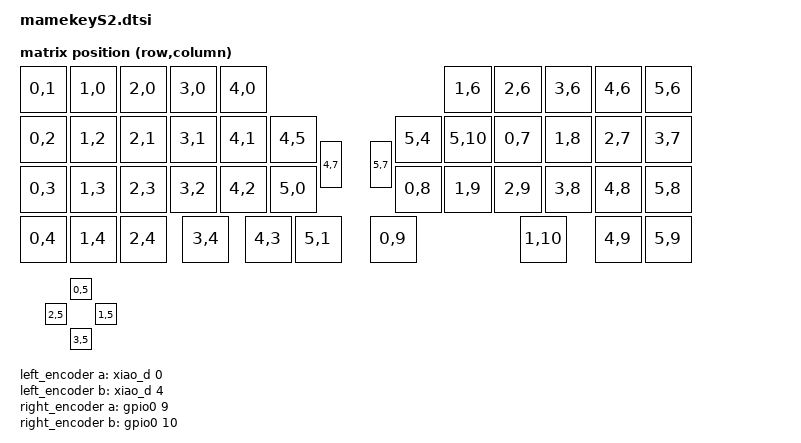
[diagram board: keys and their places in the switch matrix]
#include <dt-bindings/zmk/matrix_transform.h>
#include <input/processors.dtsi>
#include <dt-bindings/zmk/input_transform.h>
#include <physical_layouts.dtsi>
#include <dt-bindings/zmk/bt.h>


/ {

    chosen {
        zmk,physical-layout = &mamekeyS2_physical_layout;
    };

    default_transform: matrix_transform {
        compatible = "zmk,matrix-transform";
        rows = <6>;
        columns = <11>;
		// | SW1 (0)  | SW5   | SW9   | SW13  | SW16  |       |                   |         | SW4 (5)| SW8   | SW11  | SW14      | SW18 (9)  |
		// | SW2 (10) | SW6   | SW10  | SW14  | SW17  | JOYS  | SW22 |     | SW22 | SW1 (18)| SW5    | SW9   | SW12  | SW15 (22) | SW19 (23) |
		// | SW3 (24) | SW7   | SW11  | SW15  | SW18  | SW20  |                   | SW2 (30)| SW6    | SW10  | SW13  | SW16 (34) | SW20 (35) |
		// | SW4 (36) | SW8   | SW12  | SW23  | SW19  | SW21  |                   | SW3 (42)| TRACKBALL    | SW7     | SW17      | SW21      |  
        map = <
                      RC(0,1) RC(1,0) RC(2,0) RC(3,0) RC(4,0)                                      RC(1,6) RC(2,6) RC(3,6) RC(4,6) RC(5,6)
                      RC(0,2) RC(1,2) RC(2,1) RC(3,1) RC(4,1) RC(4,5) RC(5,4)    RC(5,10) RC(0,7) RC(1,8) RC(2,7) RC(3,7) RC(4,7) RC(5,7)
                      RC(0,3) RC(1,3) RC(2,3) RC(3,2) RC(4,2) RC(5,0)                      RC(0,8) RC(1,9) RC(2,9) RC(3,8) RC(4,8) RC(5,8)
                      RC(0,4) RC(1,4) RC(2,4)   RC(3,4)  RC(4,3) RC(5,1)                 RC(0,9)              RC(1,10)     RC(4,9) RC(5,9) 
                      
                          RC(0,5)  
                      RC(2,5) RC(1,5)
                          RC(3,5) 
        >;
    };
    
    mamekeyS2_physical_layout: mamekeyS2_physical_layout {
        compatible = "zmk,physical-layout";
        display-name = "Default";
        transform = <&default_transform>;
        kscan = <&kscan0>;

           keys  //                     w   h    x    y     rot    rx    ry
            = <&key_physical_attrs 100 100    0    0       0     0     0>
            , <&key_physical_attrs 100 100  100    0       0     0     0>
            , <&key_physical_attrs 100 100  200    0       0     0     0>
            , <&key_physical_attrs 100 100  300    0       0     0     0>
            , <&key_physical_attrs 100 100  400    0       0     0     0>
            , <&key_physical_attrs 100 100  850    0       0     0     0>
            , <&key_physical_attrs 100 100  950    0       0     0     0>
            , <&key_physical_attrs 100 100 1050    0       0     0     0>
            , <&key_physical_attrs 100 100 1150    0       0     0     0>
            , <&key_physical_attrs 100 100 1250    0       0     0     0>
            , <&key_physical_attrs 100 100    0  100       0     0     0>
            , <&key_physical_attrs 100 100  100  100       0     0     0>
            , <&key_physical_attrs 100 100  200  100       0     0     0>
            , <&key_physical_attrs 100 100  300  100       0     0     0>
            , <&key_physical_attrs 100 100  400  100       0     0     0>
            , <&key_physical_attrs 100 100  500  100       0     0     0>
            , <&key_physical_attrs 100 100  750  100       0     0     0>
            , <&key_physical_attrs 100 100  850  100       0     0     0>
            , <&key_physical_attrs 100 100  950  100       0     0     0>
            , <&key_physical_attrs 100 100 1050  100       0     0     0>
            , <&key_physical_attrs 100 100 1150  100       0     0     0>
            , <&key_physical_attrs 100 100 1250  100       0     0     0>
            , <&key_physical_attrs  50 100  600  150       0     0     0>
            , <&key_physical_attrs  50 100  700  150       0     0     0>
            , <&key_physical_attrs 100 100    0  200       0     0     0>
            , <&key_physical_attrs 100 100  100  200       0     0     0>
            , <&key_physical_attrs 100 100  200  200       0     0     0>
            , <&key_physical_attrs 100 100  300  200       0     0     0>
            , <&key_physical_attrs 100 100  400  200       0     0     0>
            , <&key_physical_attrs 100 100  500  200       0     0     0>
            , <&key_physical_attrs 100 100  750  200       0     0     0>
            , <&key_physical_attrs 100 100  850  200       0     0     0>
            , <&key_physical_attrs 100 100  950  200       0     0     0>
            , <&key_physical_attrs 100 100 1050  200       0     0     0>
            , <&key_physical_attrs 100 100 1150  200       0     0     0>
            , <&key_physical_attrs 100 100 1250  200       0     0     0>
            , <&key_physical_attrs 100 100    0  300       0     0     0>
            , <&key_physical_attrs 100 100  100  300       0     0     0>
            , <&key_physical_attrs 100 100  200  300       0     0     0>
            , <&key_physical_attrs 100 100  325  300       0     0     0>
            , <&key_physical_attrs 100 100  450  300       0     0     0>
            , <&key_physical_attrs 100 100  550  300       0     0     0>
            , <&key_physical_attrs 100 100  700  300       0     0     0>
            , <&key_physical_attrs 100 100 1000  300       0     0     0>
            , <&key_physical_attrs 100 100 1150  300       0     0     0>
            , <&key_physical_attrs 100 100 1250  300       0     0     0>
            , <&key_physical_attrs  50  50  100  425       0     0     0>
            , <&key_physical_attrs  50  50   50  475       0     0     0>
            , <&key_physical_attrs  50  50  150  475       0     0     0>
            , <&key_physical_attrs  50  50  100  525       0     0     0>
            ;
    };

    
    kscan0: kscan {
        compatible = "zmk,kscan-gpio-charlieplex";

        interrupt-gpios = <&xiao_d 1 (GPIO_ACTIVE_HIGH | GPIO_PULL_DOWN) >;
    };
    
    //right hand trackball
    //input processorsはoverlayで上書きされる
    trackball_central_listener: trackball_central_listener {
        compatible = "zmk,input-listener";
        status = "disabled";
        input-processors = 
            <&zip_xy_transform INPUT_TRANSFORM_Y_INVERT>,      //Y軸反転
          //<&zip_xy_transform INPUT_TRANSFORM_X_INVERT>,    //X軸反転
            <&zip_xy_transform INPUT_TRANSFORM_XY_SWAP>;     //X軸とY軸の入れ替え

    };

    
        left_encoder: encoder_left {
            compatible = "alps,ec11";
            a-gpios = <&xiao_d 0 (GPIO_ACTIVE_HIGH | GPIO_PULL_UP)>;
            b-gpios = <&xiao_d 4 (GPIO_ACTIVE_HIGH | GPIO_PULL_UP)>;
            steps = <24>;
            status = "disabled";
    };
    
        right_encoder: encoder_right {
            compatible = "alps,ec11";
            a-gpios = <&gpio0 9 (GPIO_ACTIVE_HIGH | GPIO_PULL_UP)>;
            b-gpios = <&gpio0 10 (GPIO_ACTIVE_HIGH | GPIO_PULL_UP)>;
            steps = <24>;
            status = "disabled";
    };
    
    sensors: sensors {
        compatible = "zmk,keymap-sensors";
        sensors = <&left_encoder &right_encoder>;
        triggers-per-rotation = <12>;
    };
};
